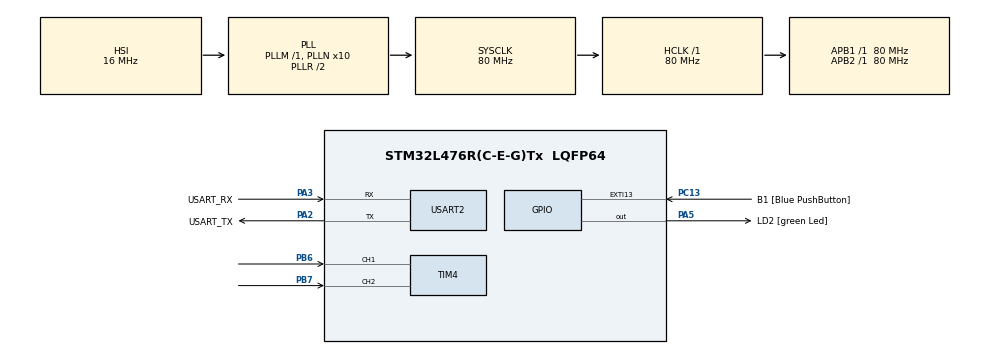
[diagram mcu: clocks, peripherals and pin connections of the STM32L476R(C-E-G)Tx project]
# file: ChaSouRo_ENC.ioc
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Mcu.Family=STM32L4
Mcu.Name=STM32L476R(C-E-G)Tx
Mcu.Package=LQFP64
NVIC.EXTI15_10_IRQn=true\:0\:0\:false\:false\:true\:true\:true\:true
NVIC.PriorityGroup=NVIC_PRIORITYGROUP_4
NVIC.TIM2_IRQn=true\:0\:0\:false\:false\:true\:true\:true\:true
NVIC.TIM4_IRQn=true\:0\:0\:false\:false\:true\:true\:true\:true
PA13\ (JTMS-SWDIO).GPIO_Label=TMS
PA13\ (JTMS-SWDIO).Mode=Serial_Wire
PA13\ (JTMS-SWDIO).Signal=SYS_JTMS-SWDIO
PA14\ (JTCK-SWCLK).GPIO_Label=TCK
PA14\ (JTCK-SWCLK).Mode=Serial_Wire
PA14\ (JTCK-SWCLK).Signal=SYS_JTCK-SWCLK
PA2.GPIO_Label=USART_TX
PA2.GPIO_Mode=GPIO_MODE_AF_PP
PA2.GPIO_PuPd=GPIO_NOPULL
PA2.GPIO_Speed=GPIO_SPEED_FREQ_VERY_HIGH
PA2.Mode=Asynchronous
PA2.Signal=USART2_TX
PA3.GPIO_Label=USART_RX
PA3.GPIO_Mode=GPIO_MODE_AF_PP
PA3.GPIO_PuPd=GPIO_NOPULL
PA3.GPIO_Speed=GPIO_SPEED_FREQ_VERY_HIGH
PA3.Mode=Asynchronous
PA3.Signal=USART2_RX
PA5.GPIO_Label=LD2 [green Led]
PA5.GPIO_ModeDefaultOutputPP=GPIO_MODE_OUTPUT_PP
PA5.GPIO_PuPd=GPIO_NOPULL
PA5.GPIO_Speed=GPIO_SPEED_FREQ_LOW
PA5.Signal=GPIO_Output
PB3\ (JTDO-TRACESWO).GPIO_Label=SWO
PB3\ (JTDO-TRACESWO).Signal=SYS_JTDO-SWO
PB6.Signal=S_TIM4_CH1
PB7.Signal=S_TIM4_CH2
PC13.GPIO_Label=B1 [Blue PushButton]
PC13.GPIO_ModeDefaultEXTI=GPIO_MODE_IT_FALLING
PC13.GPIO_PuPd=GPIO_NOPULL
PC13.Signal=GPXTI13
PC14-OSC32_IN\ (PC14).Mode=LSE-External-Oscillator
PC14-OSC32_IN\ (PC14).Signal=RCC_OSC32_IN
PC15-OSC32_OUT\ (PC15).Mode=LSE-External-Oscillator
PC15-OSC32_OUT\ (PC15).Signal=RCC_OSC32_OUT
PH0-OSC_IN\ (PH0).Signal=RCC_OSC_IN
PH1-OSC_OUT\ (PH1).Signal=RCC_OSC_OUT
ProjectManager.HeapSize=0x200
ProjectManager.StackSize=0x400
ProjectManager.TargetToolchain=STM32CubeIDE
RCC.ADCFreq_Value=64000000
RCC.AHBFreq_Value=80000000
RCC.APB1Freq_Value=80000000
RCC.APB1TimFreq_Value=80000000
RCC.APB2Freq_Value=80000000
RCC.APB2TimFreq_Value=80000000
RCC.CortexFreq_Value=80000000
RCC.HCLKFreq_Value=80000000
RCC.HSE_VALUE=8000000
RCC.HSI_VALUE=16000000
RCC.MSI_VALUE=4000000
RCC.PLLN=10
RCC.PLLSourceVirtual=RCC_PLLSOURCE_HSI
RCC.PREFETCH_ENABLE=1
RCC.SYSCLKFreq_VALUE=80000000
RCC.SYSCLKSource=RCC_SYSCLKSOURCE_PLLCLK
RCC.USBFreq_Value=64000000
RCC.VCOOutputFreq_Value=160000000
SH.S_TIM4_CH1.0=TIM4_CH1,Encoder_Interface
SH.S_TIM4_CH2.0=TIM4_CH2,Encoder_Interface
TIM2.Period=2000000-1
TIM2.Prescaler=8-1
TIM4.EncoderMode=TIM_ENCODERMODE_TI12
USART2.VirtualMode-Asynchronous=VM_ASYNC
VP_TIM2_VS_ClockSourceINT.Mode=Internal
board=NUCLEO-L476RG

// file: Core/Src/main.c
/* USER CODE BEGIN Header */
/**
  ******************************************************************************
  * @file           : main.c
  * @brief          : Main program body
  ******************************************************************************
  * @attention
  *
  * Copyright (c) 2025 STMicroelectronics.
  * All rights reserved.
  *
  * This software is licensed under terms that can be found in the LICENSE file
  * in the root directory of this software component.
  * If no LICENSE file comes with this software, it is provided AS-IS.
  *
  ******************************************************************************
  */
/* USER CODE END Header */
#include "main.h"

/* USER CODE BEGIN Includes */
#include <math.h>
#include <stdio.h>
/* USER CODE END Includes */

TIM_HandleTypeDef htim2;
TIM_HandleTypeDef htim4;

UART_HandleTypeDef huart2;

/* USER CODE BEGIN PV */

#define PPR 224.5 //341.2           // PPR de l'encodeur
#define TICKS_PER_REV (PPR * 4)     // Quadrature → 4 ticks par impulsion
#define TIMER_PERIOD_MS 5           // période de sampling de TIM2 en ms
#define LED_ON_TIME_MS 5

volatile int32_t last_position = 0;
volatile int32_t total_ticks = 0;
volatile float position_deg = 0;
volatile float velocity_deg_s = 0;
volatile int32_t FWD = 0;
volatile int32_t REV = 0;

// LED software timer
volatile int32_t led_timer = 0;

/* USER CODE END PV */

void SystemClock_Config(void);
static void MX_GPIO_Init(void);
static void MX_USART2_UART_Init(void);
static void MX_TIM4_Init(void);
static void MX_TIM2_Init(void);

/* USER CODE BEGIN 0 */

void HAL_TIM_PeriodElapsedCallback(TIM_HandleTypeDef *htim)
{
    if(htim == &htim2)
    {
        int32_t current = (int32_t)__HAL_TIM_GET_COUNTER(&htim4);
        int32_t delta = current - last_position;

        // Gestion du wrap-around 16 bits
        if(delta > 32767) delta -= 65536;
        if(delta < -32768) delta += 65536;

        total_ticks += delta;
        last_position = current;

        // Détection du mouvement pour LED
		if(delta != 0)
		{
			led_timer = LED_ON_TIME_MS / TIMER_PERIOD_MS; // convert ms → ticks timer
		}

        // Conversion brute en degrés
        float raw_deg = ((float)total_ticks / TICKS_PER_REV) * 360.0f;

        // Détection du passage de +360° ou -360°
        if (raw_deg >= 360.0f)
        {
            FWD++;
            total_ticks -= TICKS_PER_REV; // remet la position dans la fenêtre [-360, +360]
        }
        else if (raw_deg <= -360.0f)
        {
            REV++;
            total_ticks += TICKS_PER_REV; // remet la position dans la fenêtre [-360, +360]
        }

        // Position instantanée modulo 360
        position_deg = ((float)total_ticks / TICKS_PER_REV) * 360.0f;

        // Vitesse (°/s)
        velocity_deg_s = ((float)delta / TICKS_PER_REV) * (360.0f * (1000.0f / TIMER_PERIOD_MS));

        // Gestion LED
        if(led_timer > 0)
        {
            HAL_GPIO_WritePin(GPIOA, GPIO_PIN_5, GPIO_PIN_SET);
            led_timer--;
        }
        else
        {
            HAL_GPIO_WritePin(GPIOA, GPIO_PIN_5, GPIO_PIN_RESET);
        }

        // Affichage
        char buffer[120];
        int len = sprintf(buffer,
            "Pos: %7.2f deg | Vel: %7.2f deg/s | FWD: %ld | REV: %ld\r\n",
            position_deg, velocity_deg_s, FWD, REV);
        HAL_UART_Transmit(&huart2, (uint8_t*)buffer, len, HAL_MAX_DELAY);
    }
}

/* USER CODE END 0 */

int main(void)
{

  /* MCU Configuration--------------------------------------------------------*/

  /* Reset of all peripherals, Initializes the Flash interface and the Systick. */
  HAL_Init();

  /* Configure the system clock */
  SystemClock_Config();

  /* Initialize all configured peripherals */
  MX_GPIO_Init();
  MX_USART2_UART_Init();
  MX_TIM4_Init();
  MX_TIM2_Init();

  /* Infinite loop */
  while (1)
  {

  }
}

void SystemClock_Config(void)
{
  RCC_OscInitTypeDef RCC_OscInitStruct = {0};
  RCC_ClkInitTypeDef RCC_ClkInitStruct = {0};

  /** Configure the main internal regulator output voltage
  */
  if (HAL_PWREx_ControlVoltageScaling(PWR_REGULATOR_VOLTAGE_SCALE1) != HAL_OK)
  {
    Error_Handler();
  }

  /** Initializes the RCC Oscillators according to the specified parameters
  * in the RCC_OscInitTypeDef structure.
  */
  RCC_OscInitStruct.OscillatorType = RCC_OSCILLATORTYPE_HSI;
  RCC_OscInitStruct.HSIState = RCC_HSI_ON;
  RCC_OscInitStruct.HSICalibrationValue = RCC_HSICALIBRATION_DEFAULT;
  RCC_OscInitStruct.PLL.PLLState = RCC_PLL_ON;
  RCC_OscInitStruct.PLL.PLLSource = RCC_PLLSOURCE_HSI;
  RCC_OscInitStruct.PLL.PLLM = 1;
  RCC_OscInitStruct.PLL.PLLN = 10;
  RCC_OscInitStruct.PLL.PLLP = RCC_PLLP_DIV7;
  RCC_OscInitStruct.PLL.PLLQ = RCC_PLLQ_DIV2;
  RCC_OscInitStruct.PLL.PLLR = RCC_PLLR_DIV2;
  if (HAL_RCC_OscConfig(&RCC_OscInitStruct) != HAL_OK)
  {
    Error_Handler();
  }

  /** Initializes the CPU, AHB and APB buses clocks
  */
  RCC_ClkInitStruct.ClockType = RCC_CLOCKTYPE_HCLK|RCC_CLOCKTYPE_SYSCLK
                              |RCC_CLOCKTYPE_PCLK1|RCC_CLOCKTYPE_PCLK2;
  RCC_ClkInitStruct.SYSCLKSource = RCC_SYSCLKSOURCE_PLLCLK;
  RCC_ClkInitStruct.AHBCLKDivider = RCC_SYSCLK_DIV1;
  RCC_ClkInitStruct.APB1CLKDivider = RCC_HCLK_DIV1;
  RCC_ClkInitStruct.APB2CLKDivider = RCC_HCLK_DIV1;

  if (HAL_RCC_ClockConfig(&RCC_ClkInitStruct, FLASH_LATENCY_4) != HAL_OK)
  {
    Error_Handler();
  }
}

static void MX_TIM2_Init(void)
{

  TIM_ClockConfigTypeDef sClockSourceConfig = {0};
  TIM_MasterConfigTypeDef sMasterConfig = {0};

  htim2.Instance = TIM2;
  htim2.Init.Prescaler = 8-1;
  htim2.Init.CounterMode = TIM_COUNTERMODE_UP;
  htim2.Init.Period = 2000000-1;
  htim2.Init.ClockDivision = TIM_CLOCKDIVISION_DIV1;
  htim2.Init.AutoReloadPreload = TIM_AUTORELOAD_PRELOAD_DISABLE;
  if (HAL_TIM_Base_Init(&htim2) != HAL_OK)
  {
    Error_Handler();
  }
  sClockSourceConfig.ClockSource = TIM_CLOCKSOURCE_INTERNAL;
  if (HAL_TIM_ConfigClockSource(&htim2, &sClockSourceConfig) != HAL_OK)
  {
    Error_Handler();
  }
  sMasterConfig.MasterOutputTrigger = TIM_TRGO_RESET;
  sMasterConfig.MasterSlaveMode = TIM_MASTERSLAVEMODE_DISABLE;
  if (HAL_TIMEx_MasterConfigSynchronization(&htim2, &sMasterConfig) != HAL_OK)
  {
    Error_Handler();
  }
  /* USER CODE BEGIN TIM2_Init 2 */
  HAL_TIM_Base_Start_IT(&htim2); // timer de sampling
  /* USER CODE END TIM2_Init 2 */

}

static void MX_TIM4_Init(void)
{

  TIM_Encoder_InitTypeDef sConfig = {0};
  TIM_MasterConfigTypeDef sMasterConfig = {0};

  htim4.Instance = TIM4;
  htim4.Init.Prescaler = 0;
  htim4.Init.CounterMode = TIM_COUNTERMODE_UP;
  htim4.Init.Period = 65535;
  htim4.Init.ClockDivision = TIM_CLOCKDIVISION_DIV1;
  htim4.Init.AutoReloadPreload = TIM_AUTORELOAD_PRELOAD_DISABLE;
  sConfig.EncoderMode = TIM_ENCODERMODE_TI12;
  sConfig.IC1Polarity = TIM_ICPOLARITY_RISING;
  sConfig.IC1Selection = TIM_ICSELECTION_DIRECTTI;
  sConfig.IC1Prescaler = TIM_ICPSC_DIV1;
  sConfig.IC1Filter = 0;
  sConfig.IC2Polarity = TIM_ICPOLARITY_RISING;
  sConfig.IC2Selection = TIM_ICSELECTION_DIRECTTI;
  sConfig.IC2Prescaler = TIM_ICPSC_DIV1;
  sConfig.IC2Filter = 0;
  if (HAL_TIM_Encoder_Init(&htim4, &sConfig) != HAL_OK)
  {
    Error_Handler();
  }
  sMasterConfig.MasterOutputTrigger = TIM_TRGO_RESET;
  sMasterConfig.MasterSlaveMode = TIM_MASTERSLAVEMODE_DISABLE;
  if (HAL_TIMEx_MasterConfigSynchronization(&htim4, &sMasterConfig) != HAL_OK)
  {
    Error_Handler();
  }
  /* USER CODE BEGIN TIM4_Init 2 */
  HAL_TIM_Encoder_Start(&htim4, TIM_CHANNEL_ALL);
  /* USER CODE END TIM4_Init 2 */

}

static void MX_USART2_UART_Init(void)
{

  huart2.Instance = USART2;
  huart2.Init.BaudRate = 115200;
  huart2.Init.WordLength = UART_WORDLENGTH_8B;
  huart2.Init.StopBits = UART_STOPBITS_1;
  huart2.Init.Parity = UART_PARITY_NONE;
  huart2.Init.Mode = UART_MODE_TX_RX;
  huart2.Init.HwFlowCtl = UART_HWCONTROL_NONE;
  huart2.Init.OverSampling = UART_OVERSAMPLING_16;
  huart2.Init.OneBitSampling = UART_ONE_BIT_SAMPLE_DISABLE;
  huart2.AdvancedInit.AdvFeatureInit = UART_ADVFEATURE_NO_INIT;
  if (HAL_UART_Init(&huart2) != HAL_OK)
  {
    Error_Handler();
  }

}

static void MX_GPIO_Init(void)
{
  GPIO_InitTypeDef GPIO_InitStruct = {0};

  /* GPIO Ports Clock Enable */
  __HAL_RCC_GPIOC_CLK_ENABLE();
  __HAL_RCC_GPIOH_CLK_ENABLE();
  __HAL_RCC_GPIOA_CLK_ENABLE();
  __HAL_RCC_GPIOB_CLK_ENABLE();

  /*Configure GPIO pin Output Level */
  HAL_GPIO_WritePin(LD2_GPIO_Port, LD2_Pin, GPIO_PIN_RESET);

  /*Configure GPIO pin : B1_Pin */
  GPIO_InitStruct.Pin = B1_Pin;
  GPIO_InitStruct.Mode = GPIO_MODE_IT_FALLING;
  GPIO_InitStruct.Pull = GPIO_NOPULL;
  HAL_GPIO_Init(B1_GPIO_Port, &GPIO_InitStruct);

  /*Configure GPIO pin : LD2_Pin */
  GPIO_InitStruct.Pin = LD2_Pin;
  GPIO_InitStruct.Mode = GPIO_MODE_OUTPUT_PP;
  GPIO_InitStruct.Pull = GPIO_NOPULL;
  GPIO_InitStruct.Speed = GPIO_SPEED_FREQ_LOW;
  HAL_GPIO_Init(LD2_GPIO_Port, &GPIO_InitStruct);

  /* EXTI interrupt init*/
  HAL_NVIC_SetPriority(EXTI15_10_IRQn, 0, 0);
  HAL_NVIC_EnableIRQ(EXTI15_10_IRQn);

}

void Error_Handler(void)
{
  __disable_irq();
  while (1)
  {
  }
}
